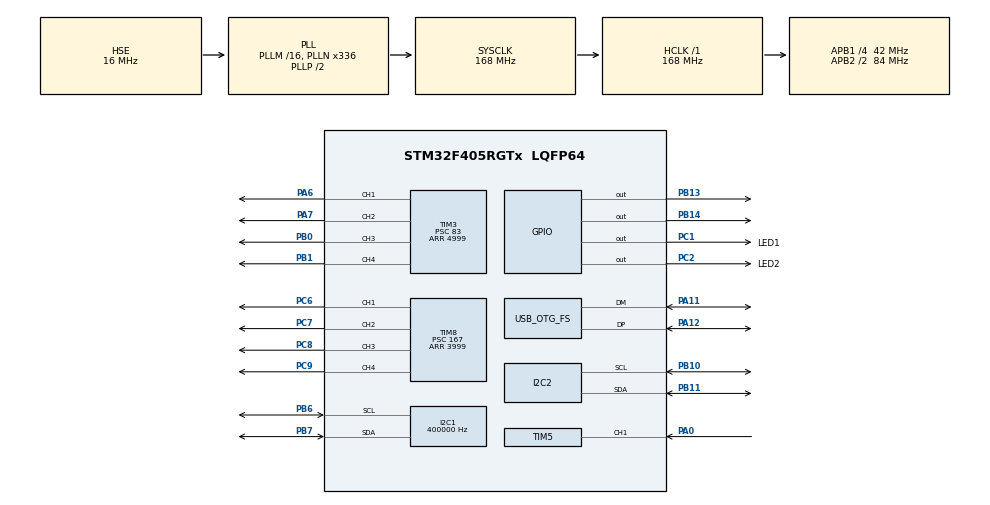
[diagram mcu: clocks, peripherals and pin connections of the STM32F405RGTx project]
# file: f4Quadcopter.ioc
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Dma.I2C1_RX.2.Direction=DMA_PERIPH_TO_MEMORY
Dma.I2C1_RX.2.FIFOMode=DMA_FIFOMODE_DISABLE
Dma.I2C1_RX.2.Instance=DMA1_Stream0
Dma.I2C1_RX.2.MemDataAlignment=DMA_MDATAALIGN_BYTE
Dma.I2C1_RX.2.MemInc=DMA_MINC_ENABLE
Dma.I2C1_RX.2.Mode=DMA_NORMAL
Dma.I2C1_RX.2.PeriphDataAlignment=DMA_PDATAALIGN_BYTE
Dma.I2C1_RX.2.PeriphInc=DMA_PINC_DISABLE
Dma.I2C1_RX.2.Priority=DMA_PRIORITY_VERY_HIGH
Dma.I2C1_TX.3.Direction=DMA_MEMORY_TO_PERIPH
Dma.I2C1_TX.3.FIFOMode=DMA_FIFOMODE_DISABLE
Dma.I2C1_TX.3.Instance=DMA1_Stream6
Dma.I2C1_TX.3.MemDataAlignment=DMA_MDATAALIGN_BYTE
Dma.I2C1_TX.3.MemInc=DMA_MINC_ENABLE
Dma.I2C1_TX.3.Mode=DMA_NORMAL
Dma.I2C1_TX.3.PeriphDataAlignment=DMA_PDATAALIGN_BYTE
Dma.I2C1_TX.3.PeriphInc=DMA_PINC_DISABLE
Dma.I2C1_TX.3.Priority=DMA_PRIORITY_VERY_HIGH
Dma.I2C2_RX.1.Direction=DMA_PERIPH_TO_MEMORY
Dma.I2C2_RX.1.FIFOMode=DMA_FIFOMODE_DISABLE
Dma.I2C2_RX.1.Instance=DMA1_Stream3
Dma.I2C2_RX.1.MemDataAlignment=DMA_MDATAALIGN_BYTE
Dma.I2C2_RX.1.MemInc=DMA_MINC_ENABLE
Dma.I2C2_RX.1.Mode=DMA_NORMAL
Dma.I2C2_RX.1.PeriphDataAlignment=DMA_PDATAALIGN_BYTE
Dma.I2C2_RX.1.PeriphInc=DMA_PINC_DISABLE
Dma.I2C2_RX.1.Priority=DMA_PRIORITY_HIGH
Dma.I2C2_TX.0.Direction=DMA_MEMORY_TO_PERIPH
Dma.I2C2_TX.0.FIFOMode=DMA_FIFOMODE_DISABLE
Dma.I2C2_TX.0.Instance=DMA1_Stream7
Dma.I2C2_TX.0.MemDataAlignment=DMA_MDATAALIGN_BYTE
Dma.I2C2_TX.0.MemInc=DMA_MINC_ENABLE
Dma.I2C2_TX.0.Mode=DMA_NORMAL
Dma.I2C2_TX.0.PeriphDataAlignment=DMA_PDATAALIGN_BYTE
Dma.I2C2_TX.0.PeriphInc=DMA_PINC_DISABLE
Dma.I2C2_TX.0.Priority=DMA_PRIORITY_HIGH
Dma.Request0=I2C2_TX
Dma.Request1=I2C2_RX
Dma.Request2=I2C1_RX
Dma.Request3=I2C1_TX
I2C1.ClockSpeed=400000
I2C1.I2C_Mode=I2C_Fast
I2C1.NoStretchMode=I2C_NOSTRETCH_DISABLE
I2C2.I2C_Mode=I2C_Fast
Mcu.Family=STM32F4
Mcu.Name=STM32F405RGTx
Mcu.Package=LQFP64
NVIC.DMA1_Stream0_IRQn=true\:0\:0\:false\:false\:true\:false\:true
NVIC.DMA1_Stream3_IRQn=true\:0\:0\:false\:false\:true\:false\:true
NVIC.DMA1_Stream6_IRQn=true\:0\:0\:false\:false\:true\:false\:true
NVIC.DMA1_Stream7_IRQn=true\:0\:0\:false\:false\:true\:false\:true
NVIC.I2C1_ER_IRQn=true\:0\:0\:false\:false\:true\:true\:true
NVIC.I2C1_EV_IRQn=true\:0\:0\:false\:false\:true\:true\:true
NVIC.I2C2_ER_IRQn=true\:0\:0\:false\:false\:true\:true\:true
NVIC.I2C2_EV_IRQn=true\:0\:0\:false\:false\:true\:true\:true
NVIC.OTG_FS_IRQn=true\:0\:0\:false\:false\:true\:false\:true
NVIC.PriorityGroup=NVIC_PRIORITYGROUP_4
NVIC.TIM1_BRK_TIM9_IRQn=true\:0\:0\:false\:false\:true\:true\:true
NVIC.TIM5_IRQn=true\:0\:0\:false\:false\:true\:true\:true
PA0-WKUP.Signal=S_TIM5_CH1
PA11.Mode=Device_Only
PA11.Signal=USB_OTG_FS_DM
PA12.Mode=Device_Only
PA12.Signal=USB_OTG_FS_DP
PA6.Signal=S_TIM3_CH1
PA7.Signal=S_TIM3_CH2
PB0.Signal=S_TIM3_CH3
PB1.Signal=S_TIM3_CH4
PB10.Mode=I2C
PB10.Signal=I2C2_SCL
PB11.Mode=I2C
PB11.Signal=I2C2_SDA
PB13.Signal=GPIO_Output
PB14.Signal=GPIO_Output
PB6.Mode=I2C
PB6.Signal=I2C1_SCL
PB7.Mode=I2C
PB7.Signal=I2C1_SDA
PC1.GPIO_Label=LED1
PC1.GPIO_ModeDefaultOutputPP=GPIO_MODE_OUTPUT_PP
PC1.GPIO_PuPd=GPIO_NOPULL
PC1.GPIO_Speed=GPIO_SPEED_FREQ_LOW
PC1.PinState=GPIO_PIN_RESET
PC1.Signal=GPIO_Output
PC2.GPIO_Label=LED2
PC2.GPIO_ModeDefaultOutputPP=GPIO_MODE_OUTPUT_PP
PC2.GPIO_PuPd=GPIO_NOPULL
PC2.GPIO_Speed=GPIO_SPEED_FREQ_LOW
PC2.PinState=GPIO_PIN_RESET
PC2.Signal=GPIO_Output
PC6.Signal=S_TIM8_CH1
PC7.Signal=S_TIM8_CH2
PC8.Signal=S_TIM8_CH3
PC9.Signal=S_TIM8_CH4
PH0-OSC_IN.Mode=HSE-External-Oscillator
PH0-OSC_IN.Signal=RCC_OSC_IN
PH1-OSC_OUT.Mode=HSE-External-Oscillator
PH1-OSC_OUT.Signal=RCC_OSC_OUT
ProjectManager.HeapSize=0x200
ProjectManager.StackSize=0x400
ProjectManager.TargetToolchain=STM32CubeIDE
RCC.48MHZClocksFreq_Value=48000000
RCC.AHBFreq_Value=168000000
RCC.APB1CLKDivider=RCC_HCLK_DIV4
RCC.APB1Freq_Value=42000000
RCC.APB1TimFreq_Value=84000000
RCC.APB2CLKDivider=RCC_HCLK_DIV2
RCC.APB2Freq_Value=84000000
RCC.APB2TimFreq_Value=168000000
RCC.CortexFreq_Value=168000000
RCC.HCLKFreq_Value=168000000
RCC.HSE_VALUE=16000000
RCC.HSI_VALUE=16000000
RCC.LSE_VALUE=32768
RCC.PLLN=336
RCC.PLLQ=7
RCC.RCC_RTC_Clock_Source=RCC_RTCCLKSOURCE_LSI
RCC.RCC_RTC_Clock_SourceVirtual=RCC_RTCCLKSOURCE_LSE
RCC.SYSCLKFreq_VALUE=168000000
RCC.SYSCLKSource=RCC_SYSCLKSOURCE_PLLCLK
RCC.VCOOutputFreq_Value=336000000
SH.S_TIM3_CH1.0=TIM3_CH1,PWM Generation1 CH1
SH.S_TIM3_CH2.0=TIM3_CH2,PWM Generation2 CH2
SH.S_TIM3_CH3.0=TIM3_CH3,PWM Generation3 CH3
SH.S_TIM3_CH4.0=TIM3_CH4,PWM Generation4 CH4
SH.S_TIM5_CH1.0=TIM5_CH1,Input_Capture1_from_TI1
SH.S_TIM8_CH1.0=TIM8_CH1,PWM Generation1 CH1
SH.S_TIM8_CH2.0=TIM8_CH2,PWM Generation2 CH2
SH.S_TIM8_CH3.0=TIM8_CH3,PWM Generation3 CH3
SH.S_TIM8_CH4.0=TIM8_CH4,PWM Generation4 CH4
TIM3.Channel-PWM\ Generation1\ CH1=TIM_CHANNEL_1
TIM3.Channel-PWM\ Generation2\ CH2=TIM_CHANNEL_2
TIM3.Channel-PWM\ Generation3\ CH3=TIM_CHANNEL_3
TIM3.Channel-PWM\ Generation4\ CH4=TIM_CHANNEL_4
TIM3.Period=4999
TIM3.Prescaler=83
TIM3.Pulse-PWM\ Generation1\ CH1=1000
TIM3.Pulse-PWM\ Generation2\ CH2=1000
TIM3.Pulse-PWM\ Generation3\ CH3=1000
TIM3.Pulse-PWM\ Generation4\ CH4=1000
TIM5.Channel-Input_Capture1_from_TI1=TIM_CHANNEL_1
TIM5.ClockDivision=TIM_CLOCKDIVISION_DIV1
TIM5.ICPolarity_CH1=TIM_INPUTCHANNELPOLARITY_RISING
TIM5.Period=4294967295
TIM5.Prescaler=83
TIM8.Channel-PWM\ Generation1\ CH1=TIM_CHANNEL_1
TIM8.Channel-PWM\ Generation2\ CH2=TIM_CHANNEL_2
TIM8.Channel-PWM\ Generation3\ CH3=TIM_CHANNEL_3
TIM8.Channel-PWM\ Generation4\ CH4=TIM_CHANNEL_4
TIM8.Period=3999
TIM8.Prescaler=167
TIM8.Pulse-PWM\ Generation1\ CH1=125
TIM8.Pulse-PWM\ Generation2\ CH2=125
TIM8.Pulse-PWM\ Generation3\ CH3=125
TIM8.Pulse-PWM\ Generation4\ CH4=125
TIM9.Period=64999
TIM9.Prescaler=167
USB_DEVICE.CLASS_NAME_FS=CDC
USB_DEVICE.VirtualMode-CDC_FS=Cdc
USB_DEVICE.VirtualModeFS=Cdc_FS
USB_OTG_FS.VirtualMode=Device_Only
VP_RTC_VS_RTC_Activate.Mode=RTC_Enabled
VP_TIM5_VS_ClockSourceINT.Mode=Internal
VP_TIM8_VS_ClockSourceINT.Mode=Internal
VP_TIM9_VS_ClockSourceINT.Mode=Internal
VP_USB_DEVICE_VS_USB_DEVICE_CDC_FS.Mode=CDC_FS
board=custom

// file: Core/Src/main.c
/* USER CODE BEGIN Header */
/**
  ******************************************************************************
  * @file           : main.c
  * @brief          : Main program body
  ******************************************************************************
  * @attention
  *
  * <h2><center>&copy; Copyright (c) 2020 STMicroelectronics.
  * All rights reserved.</center></h2>
  *
  * This software component is licensed by ST under Ultimate Liberty license
  * SLA0044, the "License"; You may not use this file except in compliance with
  * the License. You may obtain a copy of the License at:
  *                             www.st.com/SLA0044
  *
  ******************************************************************************
  */
/* USER CODE END Header */
#include "main.h"
#include "dma.h"
#include "i2c.h"
#include "rtc.h"
#include "tim.h"
#include "usb_device.h"
#include "gpio.h"

/* USER CODE BEGIN Includes */

#include "usbd_cdc_if.h"
#include "string.h"
#include "telemetry.h"
#include "math.h"
#include "imu.h"
#include "control_logic.h"
#include "control_loop.h"
#include "eeprom.h"
#include "bmp280.h"
#include "compass.h"

/* USER CODE END Includes */

/* USER CODE BEGIN PV */

uint8_t data[6] = "hello\n";

HAL_StatusTypeDef ret;
uint8_t test_gyro_send_buf[40];
volatile uint32_t val;
volatile uint32_t i2c_transmit_timer = 0;
float gyro_x;

uint32_t main_i2c_timeout_timer = 0;

uint8_t read_flag = 0;

volatile uint32_t current_ppm_capture = 0, last_ppm_capture = 0;
volatile uint32_t frequency_read = 1000;
volatile uint8_t current_ppm_channel = 0;
volatile int32_t ppm_channels[6];//Channel - 1 because index 0 is channel 1
volatile uint32_t millis_timer_base;

volatile uint32_t test_max_frequency = 0;

uint32_t pwm_output_timer, main_loop_timer, gps_pid_timer;
uint32_t how_long_to_loop_main;
uint32_t main_cycle_counter = 0;
uint32_t gps_pid_counter = 0;
float how_long_to_loop_modifier = 1;
uint32_t temp_led_timer;

uint8_t temp_test_text_buffer[35];
uint32_t temp_control_loop_test_time = 3000;

uint8_t status_first = 0;

int16_t last_x_value, last_y_value, last_z_value;
int32_t x_deviation_sum = 10000, y_deviation_sum = 10000, z_deviation_sum = 10000;

/*
 * Control Boolean Variables
 */
uint8_t altitude_hold_flag = 0;
uint8_t gps_hold_flag = 0;
uint8_t last_gps_hold_flag = 0;
uint8_t gps_waypoint_flag = 0;
uint8_t optical_flow_flag = 0;
uint8_t new_camera_data = 0;

uint32_t camera_request_timer = 0;
uint8_t camera_receive_flag = 0;
uint8_t camera_waiting_flag = 0;
uint8_t camera_receive_buf[32];
uint8_t camera_send_buf[32];
float camera_displacement_x = 0;
float camera_displacement_y = 0;
float camera_velocity_x = 0;
float camera_velocity_y = 0;
int32_t camera_framerate = 0;

int32_t raw_camera_x_velocity = 0;
int32_t raw_camera_y_velocity = 0;

int32_t last_camera_x_velocity = 0;
int32_t last_camera_y_velocity = 0;

/* USER CODE END PV */

void SystemClock_Config(void);

int main(void)
{

  /* MCU Configuration--------------------------------------------------------*/

  /* Reset of all peripherals, Initializes the Flash interface and the Systick. */
  HAL_Init();

  /* USER CODE BEGIN Init */

  HAL_Delay(500);

  /* USER CODE END Init */

  /* Configure the system clock */
  SystemClock_Config();

  /* Initialize all configured peripherals */
  MX_GPIO_Init();
  MX_DMA_Init();
  MX_I2C1_Init();
  MX_I2C2_Init();
  MX_RTC_Init();
  MX_TIM3_Init();
  MX_TIM5_Init();
  MX_TIM8_Init();
  MX_USB_DEVICE_Init();
  MX_TIM9_Init();
  /* USER CODE BEGIN 2 */

  direct_access_variables[0].var = (uint8_t *)&pid_altitude_setpoint;
  direct_access_variables[0].protected = 0;
  direct_access_variables[0].width = 4;
  direct_access_variables[0].var_index = 0;

  direct_access_variables[1].var = (uint8_t *)&pid_current_altitude_setpoint;
  direct_access_variables[1].protected = 1;
  direct_access_variables[1].width = 4;
  direct_access_variables[1].var_index = 1;

  direct_access_variables[2].var = (uint8_t *)&slow_bmp_altitude;
  direct_access_variables[2].protected = 1;
  direct_access_variables[2].width = 4;
  direct_access_variables[2].var_index = 2;

  direct_access_variables[3].var = (uint8_t *)&sat_count;
  direct_access_variables[3].protected = 1;
  direct_access_variables[3].width = 1;
  direct_access_variables[3].var_index = 3;

  direct_access_variables[4].var = (uint8_t *)&raw_gps_lat;
  direct_access_variables[4].protected = 1;
  direct_access_variables[4].width = 4;
  direct_access_variables[4].var_index = 4;

  direct_access_variables[5].var = (uint8_t *)&raw_gps_lon;
  direct_access_variables[5].protected = 1;
  direct_access_variables[5].width = 4;
  direct_access_variables[5].var_index = 5;

  HAL_TIM_IC_Start_IT(&htim5, TIM_CHANNEL_1);
  HAL_TIM_Base_Start_IT(&htim9);
  //HAL_TIM_PWM_Start(&htim3, TIM_CHANNEL_4);
  HAL_TIM_PWM_Start(&htim8, TIM_CHANNEL_4);//Motor 1 - FL
  HAL_TIM_PWM_Start(&htim8, TIM_CHANNEL_3);//Motor 2 - FR
  HAL_TIM_PWM_Start(&htim8, TIM_CHANNEL_2);//Motor 3 - BR
  HAL_TIM_PWM_Start(&htim8, TIM_CHANNEL_1);//Motor 4 - BL

  auto_packet_buffer[0].total_width = 0;
  auto_packet_buffer[0].var_count = 0;
  auto_packet_buffer[0].id = GYRO_PACKET;
  auto_packet_buffer[0].send_rate = 1;
  AddToAutoBuffer(0, (uint8_t *)&(raw_gyro_acc_data[0]), 2);
  AddToAutoBuffer(0, (uint8_t *)&(raw_gyro_acc_data[1]), 2);
  AddToAutoBuffer(0, (uint8_t *)&(raw_gyro_acc_data[2]), 2);
  AddToAutoBuffer(0, (uint8_t *)&gyro_x_angle, 4);
  AddToAutoBuffer(0, (uint8_t *)&gyro_y_angle, 4);
  AddToAutoBuffer(0, (uint8_t *)&compass_heading, 4);
  AddToAutoBuffer(0, (uint8_t *)&how_long_to_loop_main, 4);
  AddToAutoBuffer(0, (uint8_t *)&(ppm_channels[2]), 4);
  AddToAutoBuffer(0, &status_first, 1);
  auto_packet_count++;

  auto_packet_buffer[1].total_width = 0;
  auto_packet_buffer[1].var_count = 0;
  auto_packet_buffer[1].id = PID_OUTPUT_PACKET;
  auto_packet_buffer[1].send_rate = 1;
  AddToAutoBuffer(1, (uint8_t *)&gps_roll_modifier_north, 4);	//pid_roll_output
  AddToAutoBuffer(1, (uint8_t *)&camera_roll_modifier, 4);	//pid_pitch_output
  AddToAutoBuffer(1, (uint8_t *)&camera_pitch_modifier, 4);
  //AddToAutoBuffer(1, &pid_pitch_output, 4);
  auto_packet_count++;

  auto_packet_buffer[2].total_width = 0;
  auto_packet_buffer[2].var_count = 0;
  auto_packet_buffer[2].id = ALTITUDE_PACKET;
  auto_packet_buffer[2].send_rate = 5;
  AddToAutoBuffer(2, (uint8_t *)&slow_bmp_altitude, 4);
  AddToAutoBuffer(2, (uint8_t *)&(current_state[0]), 8);
  AddToAutoBuffer(2, (uint8_t *)&(kalman_gain_matrix[0]), 8);
  auto_packet_count++;

  for(int i = 0; i < 6; i++)
  {
	  ppm_channels[i] = 1000;
  }

  ppm_channels[4] = 2000;

  for(int i = 0; i < 35; i++)
  {
	  empty_data_packet.payload[i] = '\0';
  }

  for(int i = 0; i < 32; i++)
  {
	  camera_receive_buf[i] = 0;
	  camera_send_buf[i] = 0;
  }

  Setup_IMU();
  Setup_BMP280();

  //Motor PID Gains
  EEPROM_Clear_Buffer();
  EEPROM_Read_Page(0, 24);
  eeprom_read_buffer_index = 0;
  EEPROM_Read_Buffer((uint8_t *)&kp_roll, 4);
  EEPROM_Read_Buffer((uint8_t *)&ki_roll, 4);
  EEPROM_Read_Buffer((uint8_t *)&kd_roll, 4);
  EEPROM_Read_Buffer((uint8_t *)&kp_yaw, 4);
  EEPROM_Read_Buffer((uint8_t *)&ki_yaw, 4);
  EEPROM_Read_Buffer((uint8_t *)&kd_yaw, 4);

  //Altitude and GPS PID Gains
  EEPROM_Clear_Buffer();
  EEPROM_Read_Page(32, 24);
  eeprom_read_buffer_index = 0;
  EEPROM_Read_Buffer((uint8_t *)&kp_alt, 4);
  EEPROM_Read_Buffer((uint8_t *)&ki_alt, 4);
  EEPROM_Read_Buffer((uint8_t *)&kd_alt, 4);
  EEPROM_Read_Buffer((uint8_t *)&kp_gps, 4);
  EEPROM_Read_Buffer((uint8_t *)&ki_gps, 4);
  EEPROM_Read_Buffer((uint8_t *)&kd_gps, 4);

  //Compass Calibration Values
  EEPROM_Clear_Buffer();
  EEPROM_Read_Page(64, 12);
  eeprom_read_buffer_index = 0;
  EEPROM_Read_Buffer((uint8_t *)&compass_x_min, 2);
  EEPROM_Read_Buffer((uint8_t *)&compass_x_max, 2);
  EEPROM_Read_Buffer((uint8_t *)&compass_y_min, 2);
  EEPROM_Read_Buffer((uint8_t *)&compass_y_max, 2);
  EEPROM_Read_Buffer((uint8_t *)&compass_z_min, 2);
  EEPROM_Read_Buffer((uint8_t *)&compass_z_max, 2);

  Setup_Compass();

  //CDC_Transmit_FS(buf, strlen((char*)buf));

  //Calibrate_BMP280();
  //Calibrate_IMU();

  /*program_buffer[0] = 0x01;
  program_buffer[1] = 0x01;
  program_buffer[2] = 0x02;

  for(int i = 0; i < 4; i++)
  {
	  program_buffer[3+i] = *(((uint8_t *)&temp_control_loop_test_time) + i);
  }

  program_buffer[7] = 0x01;
  program_buffer[8] = 0x02;

  program_buffer[9] = 0x02;

  for(int i = 0; i < 4; i++)
  {
	  program_buffer[10+i] = *(((uint8_t *)&temp_control_loop_test_time) + i);
  }

  //program_buffer[14] = 0x03;//Restart Program
  program_buffer[14] = 0x04;*/

  HAL_Delay(2000);

  while(abs(x_deviation_sum) > 20 || abs(y_deviation_sum) > 20 || abs(z_deviation_sum) > 20)
  {
	  for(int i = 0; i < 200; i++)
	  {
		  if(i == 0)
		  {
			  x_deviation_sum = 0;
			  y_deviation_sum = 0;
			  z_deviation_sum = 0;
		  }

		  Read_IMU(0);

		  x_deviation_sum += abs(raw_gyro_acc_data[0] - last_x_value);
		  y_deviation_sum += abs(raw_gyro_acc_data[1] - last_y_value);
		  z_deviation_sum += abs(raw_gyro_acc_data[2] - last_z_value);

		  last_x_value = raw_gyro_acc_data[0];
		  last_y_value = raw_gyro_acc_data[1];
		  last_z_value = raw_gyro_acc_data[2];
		  HAL_Delay(5);
	  }

	  x_deviation_sum /= 200;
	  y_deviation_sum /= 200;
	  z_deviation_sum /= 200;
  }

  Calibrate_BMP280();
  Calibrate_IMU();
  Init_Altitude_Kalman();
  ClearPrintBuffer();
  sprintf((char *)print_text_buffer, "%s", "Gyro Calibrated.\n");
  PrintManualPacket();

  /* USER CODE END 2 */

  /* Infinite loop */
  /* USER CODE BEGIN WHILE */
  while (1)
  {
	  if(ppm_channels[4] < 1600)
	  {
		  manual_mode = 1;
		  status_first |= 1 << 1;

		  launched = 0;
		  landing = 0;
		  launching = 0;
		  altitude_hold_flag = 0;
		  gps_hold_flag = 0;
		  last_gps_hold_flag = 0;
		  gps_waypoint_flag = 0;

		  hover_throttle = 125;
		  idle_throttle = 125;
	  }
	  else
	  {
		  manual_mode = 0;
		  status_first &= ~(1 << 1);

		  Control_Loop();
	  }

	  status_first = ((status_first | 0x01) * launched) + ((status_first & ~(0x01)) * (launched ^ 0x01));

	  if(ppm_channels[5] > 1600)
	  {
		  optical_flow_flag = 1;
		  gps_hold_flag = 0;
	  }
	  else
	  {
		  optical_flow_flag = 0;

		  camera_displacement_x = 0;
		  camera_displacement_y = 0;
		  camera_roll_modifier = 0;
		  camera_pitch_modifier = 0;
		  last_camera_roll_error = 0;
		  last_camera_pitch_error = 0;
		  camera_velocity_x = 0;
		  camera_velocity_y = 0;
		  last_camera_x_velocity = 0;
		  last_camera_y_velocity = 0;
		  pid_camera_x_i = 0;
		  pid_camera_y_i = 0;
	  }

	  if(GetMillisDifference(&temp_led_timer) > 500)
	  {
		  temp_led_timer = GetMillis();

		  //HAL_GPIO_TogglePin(LED1_GPIO_Port, LED1_Pin);
	  }

	  if(GetMicrosDifference(&pwm_output_timer) >= 4000)
	  {
		  pwm_output_timer = GetMicros();
		  //__HAL_TIM_SET_COUNTER(&htim8, 4999); //Reset motor PWN counter for fast response time(probably makes esc refresh rate faster)
	  }

	  if(GetMicrosDifference(&main_loop_timer) >= 2000)
	  {
		  if(main_cycle_counter > 399)
			  main_cycle_counter = 0;

		  /*if((main_cycle_counter + 1) % 4 == 0)//Every 4 clock cycles(500uS * 4 = 2000uS) NOT IN USE RIGHT NOW
		  {

		  }*/

		  how_long_to_loop_main = GetMicrosDifference(&main_loop_timer);
		  if(how_long_to_loop_main > 4000)
			  how_long_to_loop_main = 3000;
		  how_long_to_loop_modifier = (float)(round(((float)((float)how_long_to_loop_main / 2000)) * 100.0) / 100.0);
		  main_loop_timer = GetMicros();

		  if(launching && !launched)
		  {
			  //Launch logic here
			  Launch_Behavior();
		  }

		  if(landing && launched)
		  {
			  //Landing logic here
			  Land_Behavior();
		  }

		  if(new_camera_data)
		  {
			  new_camera_data = 0;

			  if(optical_flow_flag)
				  OpticalFlow_PID();
		  }

		  if(gps_hold_flag)
		  {
			  kp_gps_actual = kp_gps;

			  if(!last_gps_hold_flag)
			  {
				  calculated_lat_error = 0;
				  calculated_lon_error = 0;
				  lat_add = 0;
				  lon_add = 0;

				  lat_error_over_time_total = 0;
				  lon_error_over_time_total = 0;
				  gps_error_over_time_reading_index = 0;

				  last_calculated_lat_error = 0;
				  last_calculated_lon_error = 0;

				  gps_roll_modifier = 0;
				  gps_pitch_modifier = 0;
				  gps_roll_modifier_north = 0;
				  gps_pitch_modifier_north = 0;

				  for(int i = 0; i < 40; i++)
				  {
					  lat_error_over_time[i] = 0;
					  lon_error_over_time[i] = 0;
				  }
			  }

			  if((GetMicrosDifference(&gps_pid_timer) >= 10000 && gps_pid_counter < 19) || new_gps_data)
			  {
				  gps_pid_timer = GetMicros();

				  if(!new_gps_data)
				  {
					  gps_pid_counter++;

					  calculated_lat_error += lat_add;
					  calculated_lon_error -= lon_add;
				  }
				  else
				  {
					  gps_pid_counter = 0;
					  new_gps_data = 0;
				  }

				  GPS_PID();
			  }
		  }

		  last_gps_hold_flag = gps_hold_flag;

		  Calculate_Altitude_Filter();

		  if((main_cycle_counter + 1) % 10 == 0)
		  {
			  Read_Compass();
			  Read_BMP280_PressureTemperature();

			  if(altitude_hold_flag)
			  {
				  if(pid_current_altitude_setpoint > pid_altitude_setpoint + 0.06)
				  {
					  pid_current_altitude_setpoint -= 0.01;	//1 m/s
				  }
				  else if(pid_current_altitude_setpoint < pid_altitude_setpoint - 0.06)
				  {
					  pid_current_altitude_setpoint += 0.01;	//1 m/s
				  }
				  //else
					//  pid_current_altitude_setpoint = pid_altitude_setpoint;

				  Calculate_Altitude_PID();
			  }
			  else
			  {
				  for(int i = 0; i < 20; i++)
				  {
					  pid_altitude_over_time[pid_altitude_over_time_reading_index] = 0;
				  }

				  pid_altitude_over_time_reading_index = 0;
				  pid_altitude_over_time_total = 0;
				  altitude_pid_output = 0;
				  pid_alt_last_error = 0;
				  pid_alt_i = 0;
			  }
		  }

		  Read_IMU(0);
		  Calculate_Attitude();
		  //uint8_t test_temp_buf[32];
		  //sprintf((char *)test_temp_buf, "%hd%s", raw_gyro_acc_data[0], "\n");
		  //CDC_Transmit_FS(test_temp_buf, strlen((char *)test_temp_buf));
		  //Calculate all motors values, then immediately output them using oneshot125
		  Motor_PID();
		  Calculate_Motor_Outputs();

		  __HAL_TIM_SET_COUNTER(&htim8, 3999);

		  __HAL_TIM_SET_COMPARE(&htim8, TIM_CHANNEL_4, esc1_output);
		  __HAL_TIM_SET_COMPARE(&htim8, TIM_CHANNEL_3, esc2_output);
		  __HAL_TIM_SET_COMPARE(&htim8, TIM_CHANNEL_2, esc3_output);
		  __HAL_TIM_SET_COMPARE(&htim8, TIM_CHANNEL_1, esc4_output);

		  main_cycle_counter++;
	  }

	  telem_loop();

    /* USER CODE END WHILE */

  }
}

void SystemClock_Config(void)
{
  RCC_OscInitTypeDef RCC_OscInitStruct = {0};
  RCC_ClkInitTypeDef RCC_ClkInitStruct = {0};
  RCC_PeriphCLKInitTypeDef PeriphClkInitStruct = {0};

  /** Configure the main internal regulator output voltage
  */
  __HAL_RCC_PWR_CLK_ENABLE();
  __HAL_PWR_VOLTAGESCALING_CONFIG(PWR_REGULATOR_VOLTAGE_SCALE1);
  /** Initializes the RCC Oscillators according to the specified parameters
  * in the RCC_OscInitTypeDef structure.
  */
  RCC_OscInitStruct.OscillatorType = RCC_OSCILLATORTYPE_LSI|RCC_OSCILLATORTYPE_HSE;
  RCC_OscInitStruct.HSEState = RCC_HSE_ON;
  RCC_OscInitStruct.LSIState = RCC_LSI_ON;
  RCC_OscInitStruct.PLL.PLLState = RCC_PLL_ON;
  RCC_OscInitStruct.PLL.PLLSource = RCC_PLLSOURCE_HSE;
  RCC_OscInitStruct.PLL.PLLM = 16;
  RCC_OscInitStruct.PLL.PLLN = 336;
  RCC_OscInitStruct.PLL.PLLP = RCC_PLLP_DIV2;
  RCC_OscInitStruct.PLL.PLLQ = 7;
  if (HAL_RCC_OscConfig(&RCC_OscInitStruct) != HAL_OK)
  {
    Error_Handler();
  }
  /** Initializes the CPU, AHB and APB buses clocks
  */
  RCC_ClkInitStruct.ClockType = RCC_CLOCKTYPE_HCLK|RCC_CLOCKTYPE_SYSCLK
                              |RCC_CLOCKTYPE_PCLK1|RCC_CLOCKTYPE_PCLK2;
  RCC_ClkInitStruct.SYSCLKSource = RCC_SYSCLKSOURCE_PLLCLK;
  RCC_ClkInitStruct.AHBCLKDivider = RCC_SYSCLK_DIV1;
  RCC_ClkInitStruct.APB1CLKDivider = RCC_HCLK_DIV4;
  RCC_ClkInitStruct.APB2CLKDivider = RCC_HCLK_DIV2;

  if (HAL_RCC_ClockConfig(&RCC_ClkInitStruct, FLASH_LATENCY_5) != HAL_OK)
  {
    Error_Handler();
  }
  PeriphClkInitStruct.PeriphClockSelection = RCC_PERIPHCLK_RTC;
  PeriphClkInitStruct.RTCClockSelection = RCC_RTCCLKSOURCE_LSI;
  if (HAL_RCCEx_PeriphCLKConfig(&PeriphClkInitStruct) != HAL_OK)
  {
    Error_Handler();
  }
}

/* USER CODE BEGIN 4 */

void HAL_TIM_IC_CaptureCallback(TIM_HandleTypeDef *htim)
{
	if(htim == &htim5)
	{
		current_ppm_capture = HAL_TIM_ReadCapturedValue(&htim5, TIM_CHANNEL_1);

		if(HAL_GPIO_ReadPin(GPIOA, GPIO_PIN_0))
		{
			last_ppm_capture = current_ppm_capture;

			//&htim3->Instance->CCER |= TIM_CCER_CC1P;
			__HAL_TIM_SET_CAPTUREPOLARITY(&htim5, TIM_CHANNEL_1, TIM_INPUTCHANNELPOLARITY_FALLING);
		}
		else
		{
			//frequency_read = current_ppm_capture - last_ppm_capture;

			/*if(frequency_read < 0)
			{
				frequency_read += 0xFFFFFFFF;
			}*/

			if (current_ppm_capture > last_ppm_capture)
			{
				frequency_read = current_ppm_capture - last_ppm_capture;
			}
			else if (current_ppm_capture <= last_ppm_capture)
			{
				/* 0x1000 is max overflow value */
				frequency_read = 0xFFFFFFFF + current_ppm_capture - last_ppm_capture;
			}

			//frequency_read /= 2;

			if(frequency_read > 3000)
			{
				current_ppm_channel = 0;
			}
			else
			{
				current_ppm_channel++;
			}

			if(frequency_read > test_max_frequency)
			{
				test_max_frequency = frequency_read;
			}

			frequency_read += 400;

			if(frequency_read < 1000)
				frequency_read = 1000;
			else if(frequency_read > 2000)
				frequency_read = 2000;

			if(current_ppm_channel >= 1 && current_ppm_channel <= 6)
			{
				ppm_channels[current_ppm_channel - 1] = frequency_read;
			}

			__HAL_TIM_SET_CAPTUREPOLARITY(&htim5, TIM_CHANNEL_1, TIM_INPUTCHANNELPOLARITY_RISING);
		}
	}
}

void HAL_TIM_PeriodElapsedCallback(TIM_HandleTypeDef *htim)
{
	if(htim == &htim9)
	{
		//micros_timer_base += 65000;//65536;
		millis_timer_base += 65;//Overflow doesn't matter unless board is running for more than 49 days
	}
}

uint32_t GetMicros()
{
	//return micros_timer_base + __HAL_TIM_GET_COUNTER(&htim4);
	return __HAL_TIM_GET_COUNTER(&htim9);
}

uint32_t GetMillis()
{
	return millis_timer_base + (GetMicros() / 1000);
}

uint32_t GetMillisDifference(uint32_t *timer_counter_to_use)
{
	return GetMillis() - *timer_counter_to_use;
}

uint32_t GetMicrosDifference(uint32_t *timer_counter_to_use)
{
	uint32_t current_micros = GetMicros();
	uint32_t micros_difference = 0;

	if(current_micros > *timer_counter_to_use)
	{
		micros_difference = current_micros - *timer_counter_to_use;
	}
	else if(current_micros < *timer_counter_to_use)
	{
		micros_difference = 65000 + current_micros - *timer_counter_to_use;
	}

	return micros_difference;
}

void HAL_I2C_MemRxCpltCallback(I2C_HandleTypeDef *hi2c)
{
}

void HAL_I2C_MasterTxCpltCallback(I2C_HandleTypeDef *hi2c)
{
	if(hi2c == &hi2c2)
	{
		tx_done = 1;
	}
	else if(hi2c == &hi2c1)
	{

	}
}

void HAL_I2C_MasterRxCpltCallback(I2C_HandleTypeDef *hi2c)
{
	if(hi2c == &hi2c2)
	{
		rx_done = 1;
		acks_counted++;
	}
	else if(hi2c == &hi2c1)
	{
		camera_receive_flag = 1;
	}
}

void HAL_I2C_AbortCpltCallback(I2C_HandleTypeDef *hi2c)
{
	if(hi2c == &hi2c2)
	{
	}
}

void HAL_I2C_ErrorCallback(I2C_HandleTypeDef *hi2c)
{
	if(hi2c == &hi2c2)
	{
	}
	else if(hi2c == &hi2c1)
	{
		/*if((I2C1->SR1 & I2C_SR1_BERR) != 0)//Bus error
		{
			I2C1->SR1 &= ~(I2C_SR1_BERR);
		}
		else if((I2C1->SR1 & I2C_SR1_AF) != 0)//Ack fail
		{
			I2C1->SR1 &= ~(I2C_SR1_AF);
		}*/
	}
}

void ReadCamera()
{
	//HAL_I2C_Master_Transmit();
    while(I2C1->SR2 & I2C_SR2_BUSY);
    I2C1->CR1 |= I2C_CR1_START;
    while(~I2C1->SR1 & I2C_SR1_SB);
    I2C1->DR = 0x58;
    while(~I2C1->SR1 & I2C_SR1_ADDR);
    I2C1->SR2;       // Dummy read
    for(int i = 0; i < 32; i++)
    {
    	I2C1->DR = camera_send_buf[i];  // Write the register number to be read
    	while(~I2C1->SR1 & (I2C_SR1_TXE | I2C_SR1_BTF));
    }

    //I2C1->CR1 |= I2C_CR1_STOP;

    // Read the register value
    while(I2C1->SR2 & I2C_SR2_BUSY);
    I2C1->CR1 |= I2C_CR1_START;
    while(~I2C1->SR1 & I2C_SR1_SB);
    I2C1->DR = 0x58 | 1;
    while(~I2C1->SR1 & I2C_SR1_ADDR);
    I2C1->SR2;       // Dummy read

    for(int i = 0; i < 32; i++)
    {
    	while(~I2C1->SR1 & I2C_SR1_RXNE);
    	camera_receive_buf[i] = I2C1->DR;
    }
    //while(~I2C1->SR1 & I2C_SR1_RXNE);
    I2C1->CR1 |= I2C_CR1_STOP;
    //uint8_t data = I2C1->DR;
}

void HAL_TIM_PWM_PulseFinishedCallback(TIM_HandleTypeDef *htim)
{

}

/* USER CODE END 4 */

void Error_Handler(void)
{
}

/************************ (C) COPYRIGHT STMicroelectronics *****END OF FILE****/
